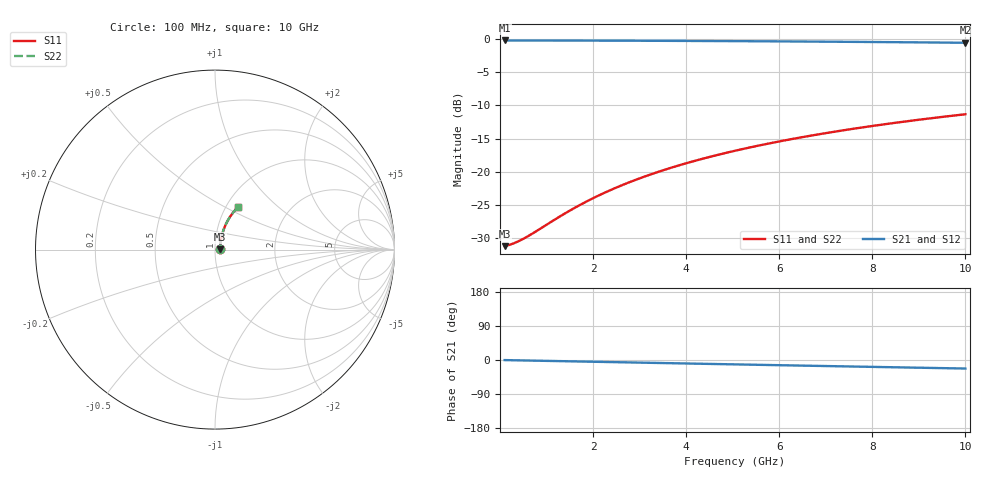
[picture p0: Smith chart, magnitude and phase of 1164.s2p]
# Hz S RI R 50.00
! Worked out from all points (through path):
!   100 points, 100 MHz to 10 GHz, reference 50 ohm
!   highest |S21| = -0.24 dB at 100 MHz (marker M1); lowest = -0.6 dB at 10 GHz (marker M2)
!   group delay of S21, straight-line fit = 6.26 ps
!   lowest |S11| = -31.2 dB at 100 MHz (marker M3), VSWR 1.06, Z = 52.8 + j0.288 ohm
!   |S11| at or under -10 dB: start of sweep to end of sweep
!   |S22| runs from -31.2 to -11.3 dB; largest |S21 - S12| = 0
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1e8  0.0275 0.00273  0.9725 -0.00391  0.9725 -0.00391  0.0275 0.00273
2e8  0.0278 0.00545  0.9722 -0.00783  0.9722 -0.00783  0.0278 0.00545
3e8  0.0279 0.00818  0.9721 -0.0117  0.9721 -0.0117  0.0279 0.00818
4e8  0.0281 0.0109  0.9719 -0.0156  0.9719 -0.0156  0.0281 0.0109
5e8  0.0283 0.0136  0.9717 -0.0195  0.9717 -0.0195  0.0283 0.0136
7e8  0.0287 0.0191  0.9712 -0.0274  0.9712 -0.0274  0.0287 0.0191
1.4e9  0.0307 0.038  0.9692 -0.0546  0.9692 -0.0546  0.0307 0.038
1.8e9  0.0322 0.0488  0.9675 -0.0701  0.9675 -0.0701  0.0322 0.0488
2.2e9  0.0341 0.0594  0.9655 -0.0855  0.9655 -0.0855  0.0341 0.0594
2.6e9  0.0363 0.0701  0.9632 -0.1009  0.9632 -0.1009  0.0363 0.0701
3e9  0.0388 0.0806  0.9605 -0.1162  0.9605 -0.1162  0.0388 0.0806
3.4e9  0.0417 0.091  0.9575 -0.1314  0.9575 -0.1314  0.0417 0.091
3.8e9  0.0448 0.1013  0.9541 -0.1464  0.9541 -0.1464  0.0448 0.1013
4.2e9  0.0483 0.1115  0.9504 -0.1613  0.9504 -0.1613  0.0483 0.1115
4.6e9  0.0521 0.1215  0.9463 -0.1761  0.9463 -0.1761  0.0521 0.1215
5.1e9  0.0573 0.1338  0.9408 -0.1944  0.9408 -0.1944  0.0573 0.1338
5.9e9  0.0665 0.153  0.931 -0.2232  0.931 -0.2232  0.0665 0.153
6.7e9  0.0768 0.1714  0.9199 -0.2512  0.9199 -0.2512  0.0768 0.1714
7.5e9  0.0881 0.1891  0.9077 -0.2784  0.9077 -0.2784  0.0881 0.1891
8.4e9  0.1021 0.2078  0.8927 -0.308  0.8927 -0.308  0.1021 0.2078
9.2e9  0.1154 0.2235  0.8784 -0.3333  0.8784 -0.3333  0.1154 0.2235
1e10  0.1295 0.2383  0.8631 -0.3577  0.8631 -0.3577  0.1295 0.2383
